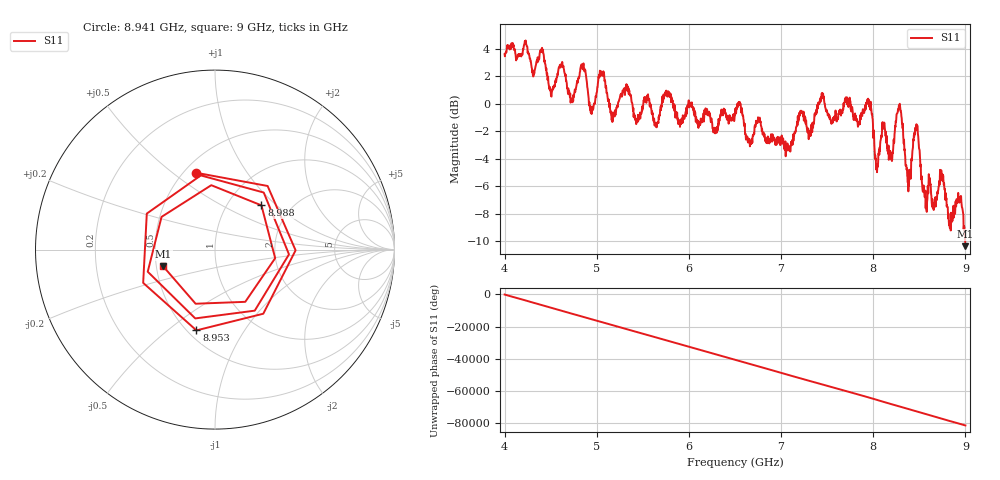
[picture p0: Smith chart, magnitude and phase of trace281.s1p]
! Created with skrf 1.8.0 (http://scikit-rf.org).
# Hz S RI R 50.0
!freq ReS11 ImS11
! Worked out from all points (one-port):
!   1601 points, 4 GHz to 9 GHz, reference 50 ohm
!   lowest |S11| = -10.4 dB at 9 GHz (marker M1), VSWR 1.87, Z = 27.2 - j5.58 ohm
!   |S11| at or under -10 dB: 8.997714 GHz to end of sweep
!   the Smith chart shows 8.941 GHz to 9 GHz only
!   S11 on the Smith chart (normalised r, x): 8.941 GHz: 0.57, +0.61; 8.953 GHz: 0.55, -0.63; 8.988 GHz: 1.43, +0.81; 9 GHz: 0.54, -0.11
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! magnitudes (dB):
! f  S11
! 4 GHz  3.6
! 4.403 GHz  3.8
! 4.506 GHz  0.6
! 4.625 GHz  3.1
! 4.728 GHz  0.4
! 4.847 GHz  2.5
! 4.941 GHz  -0.5
! 5.053 GHz  2.2
! 5.169 GHz  -1.3
! 5.25 GHz  0.4
! 5.875 GHz  -1.0
! 6.5 GHz  -0.8
! 6.662 GHz  -3.1
! 7.125 GHz  -3.0
! 7.441 GHz  0.8
! 7.75 GHz  0.2
! 7.956 GHz  -0.2
! 8.041 GHz  -5.0
! 8.112 GHz  -1.7
! 8.194 GHz  -3.9
! 8.284 GHz  -0.1
! 8.375 GHz  -5.7
! 8.466 GHz  -1.9
! 8.562 GHz  -6.5
! 8.941 GHz  -7.1
! 8.953 GHz  -6.7
! 8.988 GHz  -8.9
! 9 GHz  -10.4
